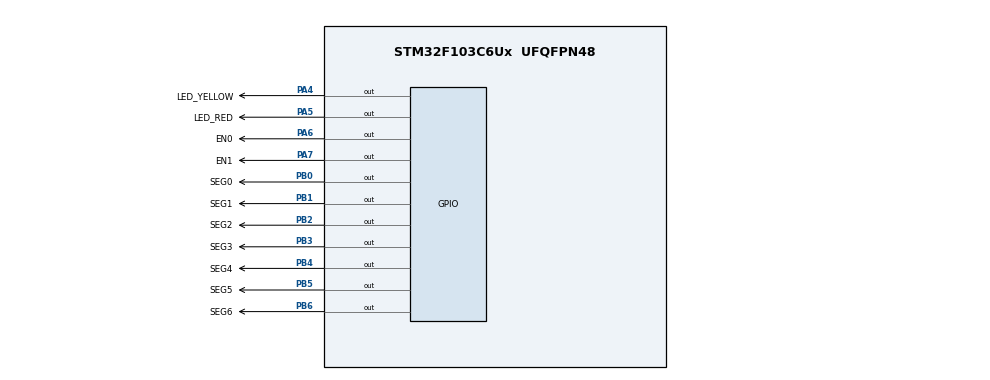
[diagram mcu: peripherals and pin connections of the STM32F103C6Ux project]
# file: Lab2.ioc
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Mcu.Family=STM32F1
Mcu.Name=STM32F103C6Ux
Mcu.Package=UFQFPN48
NVIC.PriorityGroup=NVIC_PRIORITYGROUP_4
NVIC.TIM2_IRQn=true\:0\:0\:false\:false\:true\:true\:true
PA4.GPIO_Label=LED_YELLOW
PA4.Signal=GPIO_Output
PA5.GPIO_Label=LED_RED
PA5.Signal=GPIO_Output
PA6.GPIO_Label=EN0
PA6.Signal=GPIO_Output
PA7.GPIO_Label=EN1
PA7.Signal=GPIO_Output
PB0.GPIO_Label=SEG0
PB0.Signal=GPIO_Output
PB1.GPIO_Label=SEG1
PB1.Signal=GPIO_Output
PB2.GPIO_Label=SEG2
PB2.Signal=GPIO_Output
PB3.GPIO_Label=SEG3
PB3.Signal=GPIO_Output
PB4.GPIO_Label=SEG4
PB4.Signal=GPIO_Output
PB5.GPIO_Label=SEG5
PB5.Signal=GPIO_Output
PB6.GPIO_Label=SEG6
PB6.Signal=GPIO_Output
ProjectManager.HeapSize=0x200
ProjectManager.StackSize=0x400
ProjectManager.TargetToolchain=STM32CubeIDE
RCC.APB1Freq_Value=8000000
RCC.APB2Freq_Value=8000000
TIM2.Period=9
TIM2.Prescaler=7999
VP_SYS_VS_ND.Mode=No_Debug
VP_TIM2_VS_ClockSourceINT.Mode=Internal
board=custom

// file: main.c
/* USER CODE BEGIN Header */
/**
  ******************************************************************************
  * @file           : main.c
  * @brief          : Main program body
  ******************************************************************************
  * @attention
  *
  * <h2><center>&copy; Copyright (c) 2024 STMicroelectronics.
  * All rights reserved.</center></h2>
  *
  * This software component is licensed by ST under BSD 3-Clause license,
  * the "License"; You may not use this file except in compliance with the
  * License. You may obtain a copy of the License at:
  *                        opensource.org/licenses/BSD-3-Clause
  *
  ******************************************************************************
  */
/* USER CODE END Header */
#include "main.h"

TIM_HandleTypeDef htim2;

void SystemClock_Config(void);
static void MX_GPIO_Init(void);
static void MX_TIM2_Init(void);

/* USER CODE BEGIN 0 */

void display7SEG(int num){
	switch(num){
	case 0:
		HAL_GPIO_WritePin(GPIOB, SEG0_Pin | SEG1_Pin | SEG2_Pin | SEG3_Pin | SEG4_Pin | SEG5_Pin, GPIO_PIN_RESET);
		HAL_GPIO_WritePin(GPIOB, SEG6_Pin, GPIO_PIN_SET);
		break;
	case 1:
		HAL_GPIO_WritePin(GPIOB, SEG1_Pin | SEG2_Pin, GPIO_PIN_RESET);
		HAL_GPIO_WritePin(GPIOB, SEG0_Pin | SEG3_Pin | SEG4_Pin | SEG5_Pin | SEG6_Pin, GPIO_PIN_SET);
		break;
	case 2:
		HAL_GPIO_WritePin(GPIOB, SEG0_Pin | SEG1_Pin | SEG3_Pin | SEG4_Pin | SEG6_Pin, GPIO_PIN_RESET);
		HAL_GPIO_WritePin(GPIOB, SEG2_Pin | SEG5_Pin , GPIO_PIN_SET);
		break;
	case 3:
		HAL_GPIO_WritePin(GPIOB, SEG0_Pin | SEG1_Pin | SEG2_Pin | SEG3_Pin | SEG6_Pin, GPIO_PIN_RESET);
		HAL_GPIO_WritePin(GPIOB, SEG4_Pin | SEG5_Pin, GPIO_PIN_SET);
		break;
	case 4:
		HAL_GPIO_WritePin(GPIOB, SEG1_Pin | SEG2_Pin | SEG5_Pin | SEG6_Pin, GPIO_PIN_RESET);
		HAL_GPIO_WritePin(GPIOB, SEG0_Pin | SEG3_Pin | SEG4_Pin, GPIO_PIN_SET);
		break;
	case 5:
		HAL_GPIO_WritePin(GPIOB, SEG0_Pin | SEG2_Pin | SEG3_Pin | SEG5_Pin | SEG6_Pin, GPIO_PIN_RESET);
		HAL_GPIO_WritePin(GPIOB, SEG1_Pin | SEG4_Pin, GPIO_PIN_SET);
		break;
	case 6:
		HAL_GPIO_WritePin(GPIOB, SEG0_Pin | SEG2_Pin | SEG3_Pin | SEG4_Pin | SEG5_Pin | SEG6_Pin, GPIO_PIN_RESET);
		HAL_GPIO_WritePin(GPIOB, SEG1_Pin, GPIO_PIN_SET);
		break;
	case 7:
		HAL_GPIO_WritePin(GPIOB, SEG0_Pin | SEG1_Pin | SEG2_Pin, GPIO_PIN_RESET);
		HAL_GPIO_WritePin(GPIOB, SEG3_Pin | SEG4_Pin | SEG5_Pin | SEG6_Pin, GPIO_PIN_SET);
		break;
	case 8:
		HAL_GPIO_WritePin(GPIOB, SEG0_Pin | SEG1_Pin | SEG2_Pin | SEG3_Pin | SEG4_Pin | SEG5_Pin | SEG6_Pin, GPIO_PIN_RESET);
		break;
	case 9:
		HAL_GPIO_WritePin(GPIOB, SEG0_Pin | SEG1_Pin | SEG2_Pin | SEG5_Pin | SEG6_Pin| SEG3_Pin , GPIO_PIN_RESET);
		HAL_GPIO_WritePin(GPIOB, SEG4_Pin, GPIO_PIN_SET);
		break;
	default:
		break;

	}
}

/* USER CODE END 0 */

int main(void)
{
  /* USER CODE BEGIN 1 */
	HAL_Init();
	SystemClock_Config ();
  /* USER CODE END 1 */

  /* MCU Configuration--------------------------------------------------------*/

  /* Reset of all peripherals, Initializes the Flash interface and the Systick. */
  HAL_Init();

  /* Configure the system clock */
  SystemClock_Config();

  /* Initialize all configured peripherals */
  MX_GPIO_Init();
  MX_TIM2_Init();
  /* USER CODE BEGIN 2 */
  HAL_TIM_Base_Start_IT (& htim2 ) ;
  /* USER CODE END 2 */

  /* Infinite loop */
  while (1)
  {

  }
}

void SystemClock_Config(void)
{
  RCC_OscInitTypeDef RCC_OscInitStruct = {0};
  RCC_ClkInitTypeDef RCC_ClkInitStruct = {0};

  /** Initializes the RCC Oscillators according to the specified parameters
  * in the RCC_OscInitTypeDef structure.
  */
  RCC_OscInitStruct.OscillatorType = RCC_OSCILLATORTYPE_HSI;
  RCC_OscInitStruct.HSIState = RCC_HSI_ON;
  RCC_OscInitStruct.HSICalibrationValue = RCC_HSICALIBRATION_DEFAULT;
  RCC_OscInitStruct.PLL.PLLState = RCC_PLL_NONE;
  if (HAL_RCC_OscConfig(&RCC_OscInitStruct) != HAL_OK)
  {
    Error_Handler();
  }
  /** Initializes the CPU, AHB and APB buses clocks
  */
  RCC_ClkInitStruct.ClockType = RCC_CLOCKTYPE_HCLK|RCC_CLOCKTYPE_SYSCLK
                              |RCC_CLOCKTYPE_PCLK1|RCC_CLOCKTYPE_PCLK2;
  RCC_ClkInitStruct.SYSCLKSource = RCC_SYSCLKSOURCE_HSI;
  RCC_ClkInitStruct.AHBCLKDivider = RCC_SYSCLK_DIV1;
  RCC_ClkInitStruct.APB1CLKDivider = RCC_HCLK_DIV1;
  RCC_ClkInitStruct.APB2CLKDivider = RCC_HCLK_DIV1;

  if (HAL_RCC_ClockConfig(&RCC_ClkInitStruct, FLASH_LATENCY_0) != HAL_OK)
  {
    Error_Handler();
  }
}

static void MX_TIM2_Init(void)
{

  TIM_ClockConfigTypeDef sClockSourceConfig = {0};
  TIM_MasterConfigTypeDef sMasterConfig = {0};

  htim2.Instance = TIM2;
  htim2.Init.Prescaler = 7999;
  htim2.Init.CounterMode = TIM_COUNTERMODE_UP;
  htim2.Init.Period = 9;
  htim2.Init.ClockDivision = TIM_CLOCKDIVISION_DIV1;
  htim2.Init.AutoReloadPreload = TIM_AUTORELOAD_PRELOAD_DISABLE;
  if (HAL_TIM_Base_Init(&htim2) != HAL_OK)
  {
    Error_Handler();
  }
  sClockSourceConfig.ClockSource = TIM_CLOCKSOURCE_INTERNAL;
  if (HAL_TIM_ConfigClockSource(&htim2, &sClockSourceConfig) != HAL_OK)
  {
    Error_Handler();
  }
  sMasterConfig.MasterOutputTrigger = TIM_TRGO_RESET;
  sMasterConfig.MasterSlaveMode = TIM_MASTERSLAVEMODE_DISABLE;
  if (HAL_TIMEx_MasterConfigSynchronization(&htim2, &sMasterConfig) != HAL_OK)
  {
    Error_Handler();
  }

}

static void MX_GPIO_Init(void)
{
  GPIO_InitTypeDef GPIO_InitStruct = {0};

  /* GPIO Ports Clock Enable */
  __HAL_RCC_GPIOA_CLK_ENABLE();
  __HAL_RCC_GPIOB_CLK_ENABLE();

  /*Configure GPIO pin Output Level */
  HAL_GPIO_WritePin(GPIOA, LED_RED_Pin|EN0_Pin|EN1_Pin, GPIO_PIN_RESET);

  /*Configure GPIO pin Output Level */
  HAL_GPIO_WritePin(GPIOB, SEG0_Pin|SEG1_Pin|SEG2_Pin|SEG3_Pin
                          |SEG4_Pin|SEG5_Pin|SEG6_Pin, GPIO_PIN_RESET);

  /*Configure GPIO pins : LED_RED_Pin EN0_Pin EN1_Pin */
  GPIO_InitStruct.Pin = LED_RED_Pin|EN0_Pin|EN1_Pin;
  GPIO_InitStruct.Mode = GPIO_MODE_OUTPUT_PP;
  GPIO_InitStruct.Pull = GPIO_NOPULL;
  GPIO_InitStruct.Speed = GPIO_SPEED_FREQ_LOW;
  HAL_GPIO_Init(GPIOA, &GPIO_InitStruct);

  /*Configure GPIO pins : SEG0_Pin SEG1_Pin SEG2_Pin SEG3_Pin
                           SEG4_Pin SEG5_Pin SEG6_Pin */
  GPIO_InitStruct.Pin = SEG0_Pin|SEG1_Pin|SEG2_Pin|SEG3_Pin
                          |SEG4_Pin|SEG5_Pin|SEG6_Pin;
  GPIO_InitStruct.Mode = GPIO_MODE_OUTPUT_PP;
  GPIO_InitStruct.Pull = GPIO_NOPULL;
  GPIO_InitStruct.Speed = GPIO_SPEED_FREQ_LOW;
  HAL_GPIO_Init(GPIOB, &GPIO_InitStruct);

}

/* USER CODE BEGIN 4 */

int counter1 = 100;
int counter2 = 150;
void HAL_TIM_PeriodElapsedCallback(TIM_HandleTypeDef * htim )
	{
		counter1--;
		if(counter1 <= 0){
			counter1 = 100;
			display7SEG(1);
			HAL_GPIO_WritePin(GPIOA, EN0_Pin, GPIO_PIN_RESET);
			HAL_GPIO_WritePin(GPIOA, EN1_Pin, GPIO_PIN_SET);
			HAL_GPIO_TogglePin(LED_RED_GPIO_Port, LED_RED_Pin);

		}
		counter2--;
		if(counter2 <=  0){
			counter2 = 100;
			display7SEG(2);
			HAL_GPIO_WritePin(GPIOA, EN0_Pin, GPIO_PIN_SET);
			HAL_GPIO_WritePin(GPIOA, EN1_Pin, GPIO_PIN_RESET);
		}
	}

/* USER CODE END 4 */

void Error_Handler(void)
{
  __disable_irq();
  while (1)
  {
  }
}

/************************ (C) COPYRIGHT STMicroelectronics *****END OF FILE****/
